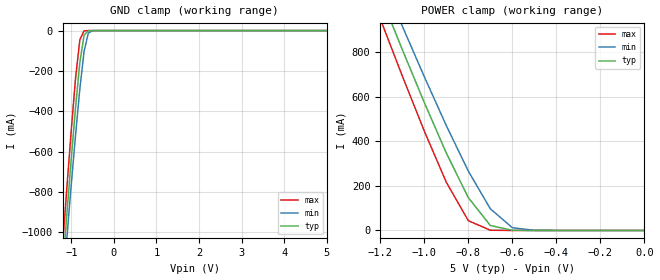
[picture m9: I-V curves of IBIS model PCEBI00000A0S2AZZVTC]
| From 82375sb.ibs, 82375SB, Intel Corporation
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[Model]   PCEBI00000A0S2AZZVTC
Model_type   Input
Vinl = 0.80V
Vinh = 2.00V
|   typ   min   max
C_comp   2.30pF   1.24pF   4.28pF
[Voltage range]   5.000V   4.750V   5.250V
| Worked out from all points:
|   GND clamp passes 1 mA (typ) near -0.60 V on its own axis
|   POWER clamp passes 1 mA (typ) near -0.60 V on its own axis
[GND_clamp]
|   Voltage   I(typ)   I(min)   I(max)
-5V       -12.16A    -11.69A    -12.61A
-1.2V     -1.17A     -1.27A     -1.05A
-1.15V    -1.04A     -1.15A     -910.7mA
-1.1V     -899.1mA   -1.02A     -767.8mA
-1.05V    -766.4mA   -889mA     -629.6mA
-1V       -633.7mA   -762.2mA   -491.4mA
-900mV    -381.2mA   -517.6mA   -235.9mA
-800mV    -158.8mA   -290.2mA   -46mA
-700mV    -23.01mA   -103.5mA   -1.22mA
-600mV    -836.8uA   -12.69mA   -18.49uA
-500mV    -23.98uA   -651.9uA   -319nA
5V        142pA      274.3nA    89.67pA
[POWER_clamp]
|   Voltage   I(typ)   I(min)   I(max)
-5V       10.88A     10.47A     11.29A
-1.2V     1.06A      1.15A      949.5mA
-1.15V    933.9mA    1.03A      821.5mA
-1.1V     812mA      917.1mA    693.6mA
-1.05V    693.1mA    803.5mA    569.8mA
-1V       574.2mA    690mA      446mA
-900mV    347.8mA    470.7mA    216.6mA
-800mV    147.5mA    266.5mA    43.99mA
-700mV    22.4mA     97.38mA    1.21mA
-600mV    829.1uA    12.49mA    17.66uA
-500mV    23.11uA    645.4uA    252.4nA
0V        -101.5pA   746pA      -71.22pA
[Ramp]
|   typ   min   max
dV/dt_r   0.00V/0.00s   0.00V/0.00s   0.00V/0.00s
dV/dt_f   0.00V/0.00s   0.00V/0.00s   0.00V/0.00s
